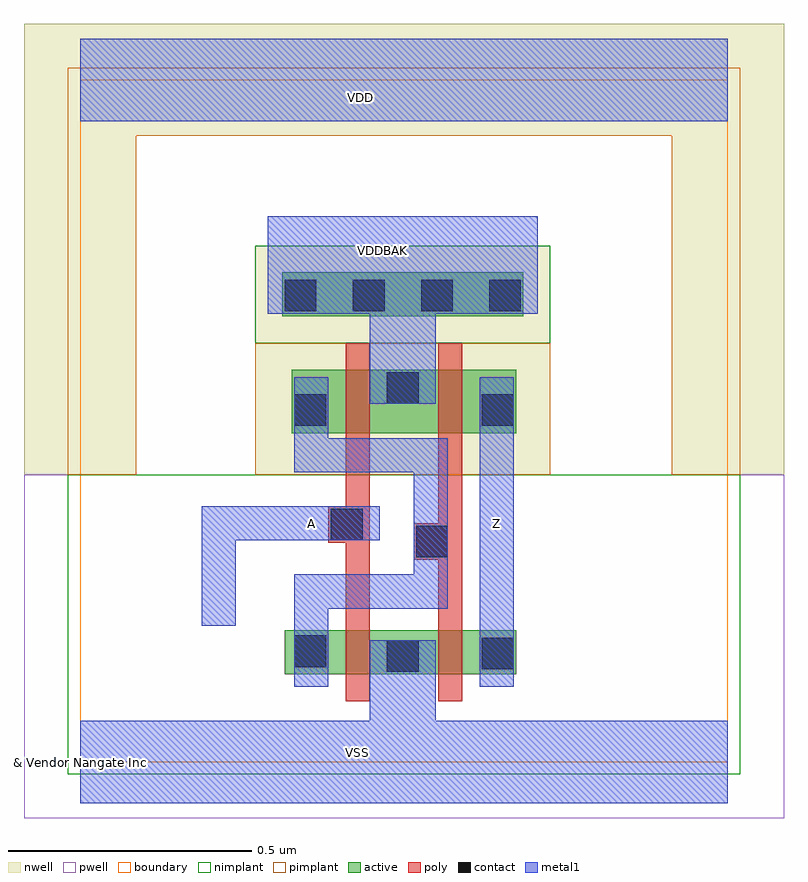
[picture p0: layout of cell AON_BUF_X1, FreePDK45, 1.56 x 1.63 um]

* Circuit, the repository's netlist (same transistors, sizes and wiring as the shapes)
* 
* ******************************************************************************
* *                                                                            *
* *                   Copyright (C) 2004-2011, Nangate Inc.                    *
* *                           All rights reserved.                             *
* *                                                                            *
* * Nangate and the Nangate logo are trademarks of Nangate Inc.                *
* *                                                                            *
* * All trademarks, logos, software marks, and trade names (collectively the   *
* * "Marks") in this program are proprietary to Nangate or other respective    *
* * owners that have granted Nangate the right and license to use such Marks.  *
* * You are not permitted to use the Marks without the prior written consent   *
* * of Nangate or such third party that may own the Marks.                     *
* *                                                                            *
* * This file has been provided pursuant to a License Agreement containing     *
* * restrictions on its use. This file contains valuable trade secrets and     *
* * proprietary information of Nangate Inc., and is protected by U.S. and      *
* * international laws and/or treaties.                                        *
* *                                                                            *
* * The copyright notice(s) in this file does not indicate actual or intended  *
* * publication of this file.                                                  *
* *                                                                            *
* *     NGLibraryCreator, v2010.08-HR32-SP3-2010-08-05 - build 1009061800      *
* *                                                                            *
* ******************************************************************************
* 
* 
* Running on server08.nangate.com for user Giancarlo Franciscatto (gfr).
* Local time is now Thu, 6 Jan 2011, 19:45:43.
* Main process id is 3320.
*
********************************************************************************
*                                                                              *
* Cellname:   AON_BUF_X1.                                                      *
*                                                                              *
* Technology: NCSU FreePDK 45nm.                                               *
* Format:     Cdl.                                                             *
*                                                                              *
* Written on server08.nangate.com for user Giancarlo Franciscatto (gfr)        *
* at 19:45:43 on Thu, 6 Jan 2011.                                              *
*                                                                              *
********************************************************************************
.SUBCKT AON_BUF_X1 A Z VDD VDDBAK VSS
*.PININFO A:I Z:O VDD:P VDDBAK:P VSS:G 
*.EQN Z=A
M_i_0 VSS A net_000 VSS NMOS_VTL W=0.090000U L=0.050000U
M_i_7 Z net_000 VSS VSS NMOS_VTL W=0.090000U L=0.050000U
M_i_13 VDDBAK A net_000 VDDBAK PMOS_VTL W=0.130000U L=0.050000U
M_i_20 Z net_000 VDDBAK VDDBAK PMOS_VTL W=0.130000U L=0.050000U
.ENDS 

********************************************************************************
*
* END
*
********************************************************************************

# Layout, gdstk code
import gdstk
lib = gdstk.Library(unit=1e-6, precision=1e-10)
def R(c, l, rs):  # rectangles x0, y0, x1, y1
    for r in rs: c.add(gdstk.rectangle(r[:2], r[2:], *l))
def A(c, l, x, y, w, h, nx, ny, dx, dy):  # array of equal rectangles
    R(c, l, [(x+i*dx, y+j*dy, x+i*dx+w, y+j*dy+h) for i in range(nx) for j in range(ny)])
def P(c, l, *ps):  # polygons
    for p in ps: c.add(gdstk.Polygon(p, *l))
active = (1, 0)
pwell = (2, 0)
nwell = (3, 0)
nimplant = (4, 0)
pimplant = (5, 0)
poly = (9, 0)
contact = (10, 0)
metal1 = (11, 0)
boundary = (235, 0)

aon_buf_x1 = lib.new_cell('AON_BUF_X1')
R(aon_buf_x1, active, [(0.42,0.18,0.895,0.27), (0.435,0.675,0.895,0.805), (0.415,0.915,0.91,1.005)])
R(aon_buf_x1, pwell, [(-0.115,-0.115,1.445,0.59)])
R(aon_buf_x1, nwell, [(0.36,0.59,0.965,1.06)])
P(aon_buf_x1, nwell, [(-0.115,0.59),(0.115,0.59),(0.115,1.285),(1.215,1.285),(1.215,0.59),(1.445,0.59),(1.445,1.515),(-0.115,1.515)])
R(aon_buf_x1, nimplant, [(-0.025,-0.025,1.355,0.59), (0.36,0.86,0.965,1.06)])
R(aon_buf_x1, pimplant, [(0.36,0.59,0.965,0.86)])
P(aon_buf_x1, pimplant, [(-0.025,0.59),(0.115,0.59),(0.115,1.285),(1.215,1.285),(1.215,0.59),(1.355,0.59),(1.355,1.425),(-0.025,1.425)])
P(aon_buf_x1, poly, [(0.51,0.45),(0.545,0.45),(0.545,0.125),(0.595,0.125),(0.595,0.86),(0.545,0.86),(0.545,0.525),(0.51,0.525)],
  [(0.685,0.415),(0.735,0.415),(0.735,0.125),(0.785,0.125),(0.785,0.86),(0.735,0.86),(0.735,0.49),(0.685,0.49)])
A(aon_buf_x1, contact, 0.42, 0.925, 0.065, 0.065, 4, 1, 0.14, 0)
R(aon_buf_x1, contact, [(0.63,0.185,0.695,0.25), (0.825,0.19,0.89,0.255), (0.44,0.195,0.505,0.26), (0.69,0.42,0.755,0.485), (0.515,0.455,0.58,0.52), (0.44,0.69,0.505,0.755), (0.825,0.69,0.89,0.755), (0.63,0.735,0.695,0.8)])
R(aon_buf_x1, metal1, [(0.82,0.155,0.89,0.79), (0,1.315,1.33,1.485)])
P(aon_buf_x1, metal1, [(0,-0.085),(1.33,-0.085),(1.33,0.085),(0.73,0.085),(0.73,0.25),(0.595,0.25),(0.595,0.085),(0,0.085)],
  [(0.25,0.28),(0.32,0.28),(0.32,0.455),(0.615,0.455),(0.615,0.525),(0.25,0.525)],
  [(0.44,0.595),(0.685,0.595),(0.685,0.385),(0.44,0.385),(0.44,0.155),(0.51,0.155),(0.51,0.315),(0.755,0.315),(0.755,0.665),(0.51,0.665),(0.51,0.79),(0.44,0.79)],
  [(0.385,0.92),(0.595,0.92),(0.595,0.735),(0.73,0.735),(0.73,0.92),(0.94,0.92),(0.94,1.12),(0.385,1.12)])
R(aon_buf_x1, boundary, [(0,0,1.33,1.4)])
aon_buf_x1.add(gdstk.Label('VDDBAK', (0.62,1.05), layer=11, texttype=0))
aon_buf_x1.add(gdstk.Label('A', (0.475,0.49), layer=11, texttype=0))
aon_buf_x1.add(gdstk.Label('Z', (0.855,0.49), layer=11, texttype=0))
aon_buf_x1.add(gdstk.Label('VSS', (0.57,0.02), layer=11, texttype=0))
aon_buf_x1.add(gdstk.Label('VDD', (0.575,1.365), layer=11, texttype=0))
aon_buf_x1.add(gdstk.Label('& Vendor Nangate Inc', (0,0), layer=63, texttype=63))
aon_buf_x1.add(gdstk.Label('& Product Open Cell Library', (0,0), layer=63, texttype=63))
aon_buf_x1.add(gdstk.Label('& Version 2010_12', (0,0), layer=63, texttype=63))
aon_buf_x1.add(gdstk.Label('& Instance AON_BUF_X1', (0,0), layer=63, texttype=63))

lib.write_gds('AON_BUF_X1.gds')
